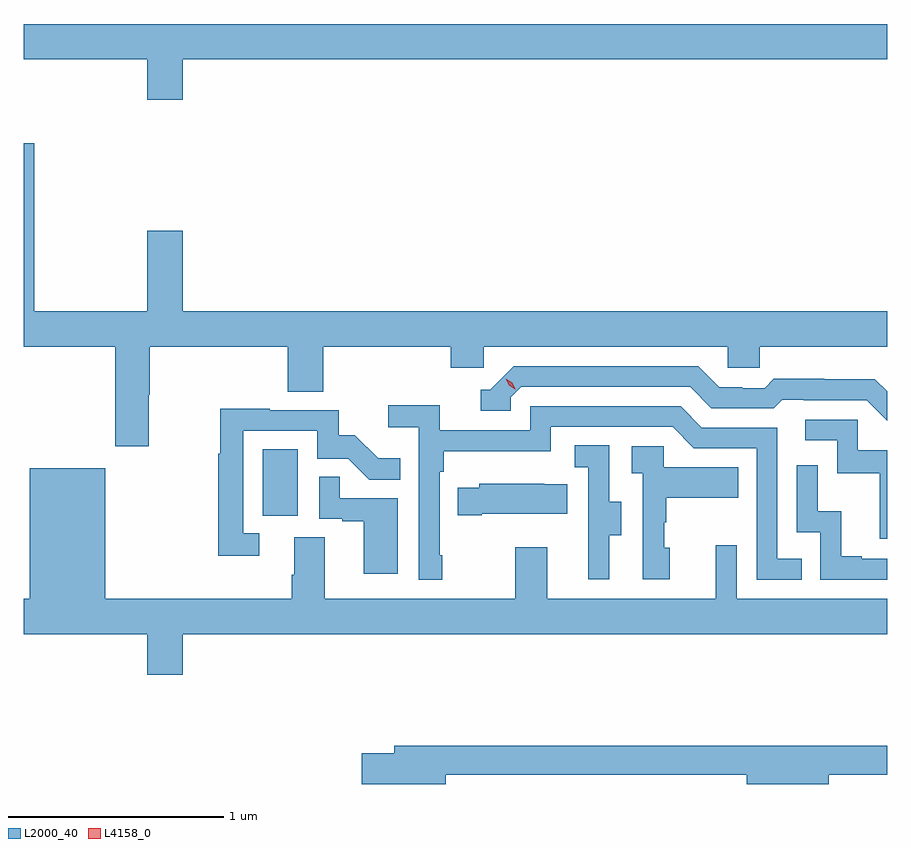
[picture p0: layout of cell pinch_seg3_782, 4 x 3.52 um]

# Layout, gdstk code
import gdstk
lib = gdstk.Library(unit=1e-6, precision=1e-09)
def R(c, l, rs):  # rectangles x0, y0, x1, y1
    for r in rs: c.add(gdstk.rectangle(r[:2], r[2:], *l))
def P(c, l, *ps):  # polygons
    for p in ps: c.add(gdstk.Polygon(p, *l))
L2000_40 = (2000, 40)
L4158_0 = (4158, 0)

pinch_seg3_782 = lib.new_cell('pinch_seg3_782')
R(pinch_seg3_782, L2000_40, [(812.894,721.446,813.058,721.753)])
P(pinch_seg3_782, L2000_40, [(812.524,723.56),(815.788,723.56),(815.788,723.724),(811.788,723.724),(811.788,723.56),(812.36,723.56),(812.36,723.372),(812.524,723.372)],
  [(812.367,722.006),(812.372,722.006),(812.372,722.228),(813.011,722.228),(813.011,722.02),(813.176,722.02),(813.176,722.228),(813.767,722.228),(813.767,722.13),(813.918,722.13),(813.918,722.228),(815.049,722.228),(815.049,722.13),(815.199,722.13),(815.199,722.228),(815.788,722.228),(815.788,722.392),(812.524,722.392),(812.524,722.767),(812.36,722.767),(812.36,722.392),(811.835,722.392),(811.835,723.171),(811.788,723.171),(811.788,722.228),(812.212,722.228),(812.212,721.767),(812.367,721.767)],
  [(815.788,722.021),(815.732,722.077),(815.496,722.077),(815.496,722.08),(815.263,722.08),(815.221,722.037),(815.118,722.037),(815.118,722.04),(815.011,722.04),(814.912,722.139),(814.059,722.139),(813.948,722.028),(813.905,722.028),(813.905,721.932),(814.044,721.932),(814.044,721.995),(814.092,722.043),(814.875,722.043),(814.974,721.944),(815.263,721.944),(815.302,721.983),(815.401,721.983),(815.401,721.98),(815.694,721.98),(815.788,721.886)],
  [(813.727,721.261),(813.714,721.261),(813.714,721.649),(813.734,721.649),(813.734,721.745),(814.23,721.745),(814.23,721.857),(814.794,721.857),(814.893,721.758),(815.184,721.758),(815.184,721.149),(815.393,721.149),(815.393,721.245),(815.28,721.245),(815.28,721.854),(814.93,721.854),(814.831,721.953),(814.134,721.953),(814.134,721.842),(813.716,721.842),(813.716,721.958),(813.477,721.958),(813.477,721.856),(813.618,721.856),(813.618,721.149),(813.727,721.149)],
  [(812.878,721.365),(812.805,721.365),(812.805,721.839),(813.147,721.839),(813.147,721.71),(813.291,721.71),(813.389,721.612),(813.533,721.612),(813.533,721.711),(813.429,721.711),(813.322,721.818),(813.246,721.818),(813.246,721.935),(812.927,721.935),(812.927,721.94),(812.697,721.94),(812.697,721.732),(812.689,721.732),(812.689,721.26),(812.878,721.26)],
  [(815.788,721.749),(815.652,721.749),(815.652,721.89),(815.409,721.89),(815.409,721.794),(815.556,721.794),(815.556,721.641),(815.755,721.641),(815.755,721.338),(815.788,721.338)],
  [(814.501,721.354),(814.555,721.354),(814.555,721.509),(814.5,721.509),(814.5,721.772),(814.341,721.772),(814.341,721.669),(814.404,721.669),(814.404,721.365),(814.403,721.365),(814.403,721.152),(814.501,721.152)],
  [(814.78,721.296),(814.755,721.296),(814.755,721.415),(814.765,721.415),(814.765,721.529),(815.099,721.529),(815.099,721.669),(814.752,721.669),(814.752,721.767),(814.605,721.767),(814.605,721.643),(814.656,721.643),(814.656,721.152),(814.78,721.152)],
  [(815.788,721.245),(815.671,721.245),(815.671,721.258),(815.576,721.258),(815.576,721.466),(815.466,721.466),(815.466,721.678),(815.37,721.678),(815.37,721.368),(815.478,721.368),(815.478,721.149),(815.788,721.149)],
  [(812.524,720.896),(815.788,720.896),(815.788,721.06),(815.091,721.06),(815.091,721.309),(814.994,721.309),(814.994,721.06),(814.213,721.06),(814.213,721.3),(814.066,721.3),(814.066,721.06),(813.181,721.06),(813.181,721.346),(813.041,721.346),(813.041,721.172),(813.029,721.172),(813.029,721.06),(812.164,721.06),(812.164,721.666),(811.814,721.666),(811.814,721.06),(811.788,721.06),(811.788,720.896),(812.36,720.896),(812.36,720.708),(812.524,720.708)],
  [(813.52,721.527),(813.251,721.527),(813.251,721.625),(813.156,721.625),(813.156,721.431),(813.263,721.431),(813.263,721.419),(813.362,721.419),(813.362,721.176),(813.52,721.176)],
  [(813.91,721.454),(814.307,721.454),(814.307,721.591),(814.199,721.591),(814.199,721.594),(813.897,721.594),(813.897,721.576),(813.799,721.576),(813.799,721.447),(813.91,721.447)],
  [(813.742,720.244),(815.138,720.244),(815.138,720.202),(815.518,720.202),(815.518,720.244),(815.788,720.244),(815.788,720.38),(813.503,720.38),(813.503,720.344),(813.354,720.344),(813.354,720.202),(813.742,720.202)])
P(pinch_seg3_782, L4158_0, [(814.068,722.029),(814.037,722.049),(814.021,722.081),(814.021,722.081),(814.022,722.081),(814.052,722.062),(814.068,722.029),(814.068,722.029)])

lib.write_gds('pinch_seg3_782.gds')
